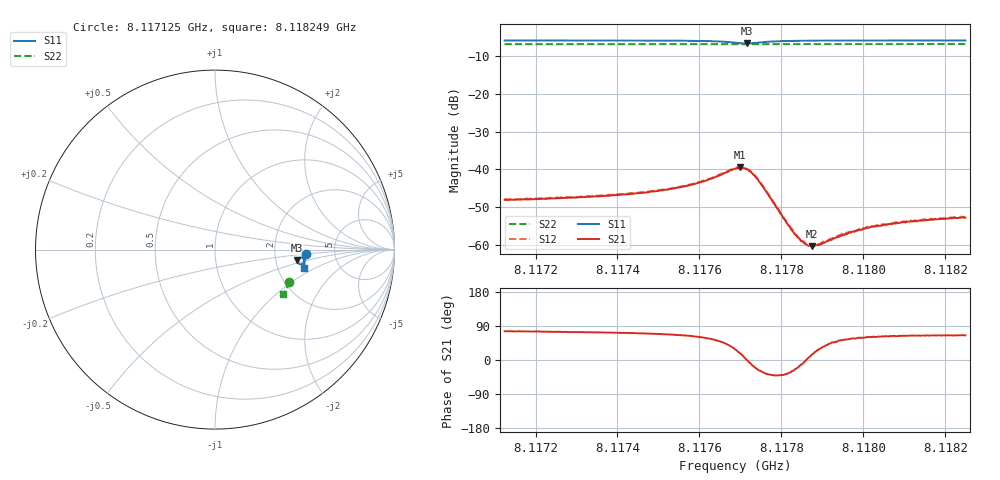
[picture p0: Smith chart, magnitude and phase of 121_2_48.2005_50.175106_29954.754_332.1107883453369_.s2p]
#  HZ  S  RI  R  50.00
! Rohde & Schwarz Vector Network Analyzer
! Rohde-Schwarz,ZNB20-2Port,1311601062101988,3.16
! Created: UTC 3/20/2024, 11:41:30 AM
! freq[Hz]  re:S11  im:S11  re:S21  im:S21  re:S12  im:S12  re:S22  im:S22
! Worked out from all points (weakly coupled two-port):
!   401 points, 8.117125 GHz to 8.118249 GHz, reference 50 ohm
!   highest |S21| = -39.45 dB at 8.117698 GHz (marker M1); lowest = -60.3 dB at 8.117875 GHz (marker M2)
!   lowest |S11| = -6.7 dB at 8.117715 GHz (marker M3), VSWR 2.71, Z = 132 - j20.2 ohm
!   |S11| at or under -10 dB: nowhere
!   |S22| runs from -6.9 to -6.9 dB; largest |S21 - S12| = 0.00033
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8.1171246e9  0.5053 -0.0268  0.000959 0.00385  0.00104 0.00385  0.4146 -0.1778
8.1173129e9  0.5036 -0.0423  0.00121 0.00414  0.0013 0.0042  0.4098 -0.19
8.1174198e9  0.5019 -0.0519  0.00149 0.00445  0.00155 0.0045  0.4066 -0.197
8.1175013e9  0.5002 -0.0602  0.00191 0.00489  0.00203 0.00496  0.4043 -0.2022
8.1175463e9  0.4981 -0.0654  0.00235 0.00527  0.00241 0.00528  0.403 -0.2052
8.1175969e9  0.494 -0.0725  0.00319 0.00581  0.0033 0.0059  0.4013 -0.2085
8.1176868e9  0.4664 -0.0788  0.009 0.00478  0.00928 0.00492  0.3974 -0.2136
8.1176981e9  0.4607 -0.0734  0.0101 0.00334  0.0101 0.00342  0.3967 -0.2141
8.1177149e9  0.4575 -0.0601  0.0101 0.000153  0.0103 9.63e-05  0.3963 -0.2145
8.117729e9  0.4625 -0.0498  0.0086 -0.00222  0.00883 -0.00216  0.3963 -0.215
8.1177458e9  0.473 -0.0441  0.00608 -0.00321  0.00624 -0.00328  0.3964 -0.2159
8.1178105e9  0.4945 -0.0544  0.00166 -0.00125  0.00169 -0.0013  0.3952 -0.2204
8.1178386e9  0.4968 -0.0599  0.00121 -0.000462  0.00123 -0.000473  0.3945 -0.2223
8.1178611e9  0.4977 -0.0635  0.00102 9.32e-06  0.00105 -2.07e-05  0.3936 -0.2239
8.1178752e9  0.498 -0.0657  0.000937 0.000255  0.000955 0.000249  0.3931 -0.2249
8.1178892e9  0.4984 -0.0676  0.000911 0.000448  0.000919 0.000458  0.3929 -0.2256
8.1179426e9  0.4984 -0.0742  0.000839 0.00104  0.000863 0.00103  0.391 -0.229
8.1179792e9  0.4984 -0.078  0.000852 0.00128  0.000808 0.00126  0.3899 -0.2315
8.1180129e9  0.498 -0.0812  0.000841 0.00148  0.000858 0.00152  0.3887 -0.2334
8.1180635e9  0.4974 -0.086  0.000871 0.0017  0.000906 0.00174  0.3872 -0.2366
8.1181506e9  0.4962 -0.0935  0.000923 0.00192  0.000965 0.00199  0.3842 -0.242
8.118249e9  0.4946 -0.1014  0.000973 0.00209  0.00101 0.00216  0.3807 -0.248
